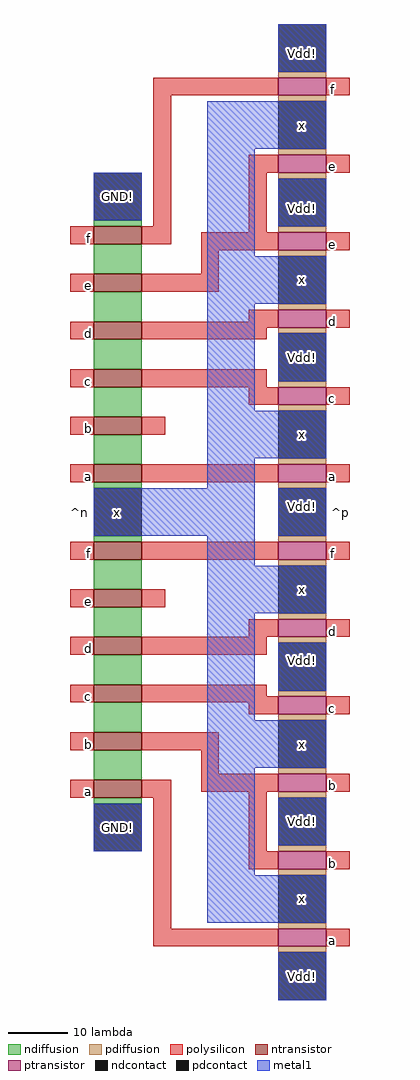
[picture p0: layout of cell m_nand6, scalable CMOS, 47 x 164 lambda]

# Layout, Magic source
magic
tech scmos
<< ndiffusion >>
rect -225 -698 -217 -697
rect -225 -706 -217 -701
rect -225 -714 -217 -709
rect -225 -722 -217 -717
rect -225 -730 -217 -725
rect -225 -738 -217 -733
rect -225 -742 -217 -741
rect -225 -751 -217 -750
rect -225 -759 -217 -754
rect -225 -767 -217 -762
rect -225 -775 -217 -770
rect -225 -783 -217 -778
rect -225 -791 -217 -786
rect -225 -795 -217 -794
<< pdiffusion >>
rect -194 -673 -186 -672
rect -194 -677 -186 -676
rect -194 -686 -186 -685
rect -194 -690 -186 -689
rect -194 -699 -186 -698
rect -194 -703 -186 -702
rect -194 -712 -186 -711
rect -194 -716 -186 -715
rect -194 -725 -186 -724
rect -194 -729 -186 -728
rect -194 -738 -186 -737
rect -194 -742 -186 -741
rect -194 -751 -186 -750
rect -194 -755 -186 -754
rect -194 -764 -186 -763
rect -194 -768 -186 -767
rect -194 -777 -186 -776
rect -194 -781 -186 -780
rect -194 -790 -186 -789
rect -194 -794 -186 -793
rect -194 -803 -186 -802
rect -194 -807 -186 -806
rect -194 -816 -186 -815
rect -194 -820 -186 -819
<< ntransistor >>
rect -225 -701 -217 -698
rect -225 -709 -217 -706
rect -225 -717 -217 -714
rect -225 -725 -217 -722
rect -225 -733 -217 -730
rect -225 -741 -217 -738
rect -225 -754 -217 -751
rect -225 -762 -217 -759
rect -225 -770 -217 -767
rect -225 -778 -217 -775
rect -225 -786 -217 -783
rect -225 -794 -217 -791
<< ptransistor >>
rect -194 -676 -186 -673
rect -194 -689 -186 -686
rect -194 -702 -186 -699
rect -194 -715 -186 -712
rect -194 -728 -186 -725
rect -194 -741 -186 -738
rect -194 -754 -186 -751
rect -194 -767 -186 -764
rect -194 -780 -186 -777
rect -194 -793 -186 -790
rect -194 -806 -186 -803
rect -194 -819 -186 -816
<< polysilicon >>
rect -215 -676 -194 -673
rect -186 -676 -182 -673
rect -215 -698 -212 -676
rect -229 -701 -225 -698
rect -217 -701 -212 -698
rect -199 -689 -194 -686
rect -186 -689 -182 -686
rect -199 -699 -196 -689
rect -207 -702 -194 -699
rect -186 -702 -182 -699
rect -207 -706 -204 -702
rect -229 -709 -225 -706
rect -217 -709 -204 -706
rect -199 -714 -194 -712
rect -229 -717 -225 -714
rect -217 -715 -194 -714
rect -186 -715 -182 -712
rect -217 -717 -196 -715
rect -229 -725 -225 -722
rect -217 -725 -196 -722
rect -199 -728 -194 -725
rect -186 -728 -182 -725
rect -229 -733 -225 -730
rect -217 -733 -213 -730
rect -229 -741 -225 -738
rect -217 -741 -194 -738
rect -186 -741 -182 -738
rect -229 -754 -225 -751
rect -217 -754 -194 -751
rect -186 -754 -182 -751
rect -229 -762 -225 -759
rect -217 -762 -213 -759
rect -199 -767 -194 -764
rect -186 -767 -182 -764
rect -229 -770 -225 -767
rect -217 -770 -196 -767
rect -229 -778 -225 -775
rect -217 -777 -196 -775
rect -217 -778 -194 -777
rect -199 -780 -194 -778
rect -186 -780 -182 -777
rect -229 -786 -225 -783
rect -217 -786 -204 -783
rect -207 -790 -204 -786
rect -229 -794 -225 -791
rect -217 -794 -212 -791
rect -207 -793 -194 -790
rect -186 -793 -182 -790
rect -215 -816 -212 -794
rect -199 -803 -196 -793
rect -199 -806 -194 -803
rect -186 -806 -182 -803
rect -215 -819 -194 -816
rect -186 -819 -182 -816
<< ndcontact >>
rect -225 -697 -217 -689
rect -225 -750 -217 -742
rect -225 -803 -217 -795
<< pdcontact >>
rect -194 -672 -186 -664
rect -194 -685 -186 -677
rect -194 -698 -186 -690
rect -194 -711 -186 -703
rect -194 -724 -186 -716
rect -194 -737 -186 -729
rect -194 -750 -186 -742
rect -194 -763 -186 -755
rect -194 -776 -186 -768
rect -194 -789 -186 -781
rect -194 -802 -186 -794
rect -194 -815 -186 -807
rect -194 -828 -186 -820
<< metal1 >>
rect -194 -672 -186 -664
rect -206 -685 -186 -677
rect -225 -697 -217 -689
rect -206 -703 -198 -685
rect -194 -698 -186 -690
rect -206 -711 -186 -703
rect -206 -729 -198 -711
rect -194 -724 -186 -716
rect -206 -737 -186 -729
rect -206 -742 -198 -737
rect -225 -750 -198 -742
rect -194 -750 -186 -742
rect -206 -755 -198 -750
rect -206 -763 -186 -755
rect -206 -781 -198 -763
rect -194 -776 -186 -768
rect -206 -789 -186 -781
rect -225 -803 -217 -795
rect -206 -807 -198 -789
rect -194 -802 -186 -794
rect -206 -815 -186 -807
rect -194 -828 -186 -820
<< labels >>
rlabel metal1 -190 -745 -190 -745 5 Vdd!
rlabel metal1 -190 -771 -190 -771 5 Vdd!
rlabel metal1 -190 -824 -190 -824 1 Vdd!
rlabel metal1 -190 -733 -190 -733 5 x
rlabel metal1 -190 -695 -190 -695 1 Vdd!
rlabel metal1 -190 -707 -190 -707 5 x
rlabel metal1 -190 -720 -190 -720 1 Vdd!
rlabel metal1 -190 -759 -190 -759 1 x
rlabel metal1 -190 -785 -190 -785 5 x
rlabel metal1 -190 -811 -190 -811 1 x
rlabel metal1 -190 -798 -190 -798 1 Vdd!
rlabel metal1 -190 -669 -190 -669 1 Vdd!
rlabel metal1 -190 -681 -190 -681 5 x
rlabel polysilicon -226 -700 -226 -700 3 f
rlabel polysilicon -226 -753 -226 -753 3 f
rlabel polysilicon -226 -761 -226 -761 3 e
rlabel polysilicon -226 -769 -226 -769 1 d
rlabel polysilicon -226 -793 -226 -793 3 a
rlabel polysilicon -226 -785 -226 -785 3 b
rlabel polysilicon -226 -777 -226 -777 3 c
rlabel metal1 -221 -799 -221 -799 1 GND!
rlabel metal1 -221 -693 -221 -693 5 GND!
rlabel polysilicon -226 -708 -226 -708 3 e
rlabel polysilicon -226 -716 -226 -716 1 d
rlabel metal1 -221 -746 -221 -746 5 x
rlabel polysilicon -226 -724 -226 -724 3 c
rlabel polysilicon -226 -732 -226 -732 3 b
rlabel polysilicon -226 -740 -226 -740 3 a
rlabel polysilicon -185 -818 -185 -818 7 a
rlabel polysilicon -185 -805 -185 -805 7 b
rlabel polysilicon -185 -792 -185 -792 7 b
rlabel polysilicon -185 -779 -185 -779 7 c
rlabel polysilicon -185 -766 -185 -766 7 d
rlabel polysilicon -185 -753 -185 -753 7 f
rlabel polysilicon -185 -740 -185 -740 7 a
rlabel polysilicon -185 -727 -185 -727 7 c
rlabel polysilicon -185 -714 -185 -714 7 d
rlabel polysilicon -185 -701 -185 -701 7 e
rlabel polysilicon -185 -688 -185 -688 7 e
rlabel polysilicon -185 -675 -185 -675 7 f
rlabel space -230 -803 -225 -689 7 ^n
rlabel space -186 -828 -181 -664 3 ^p
<< end >>
